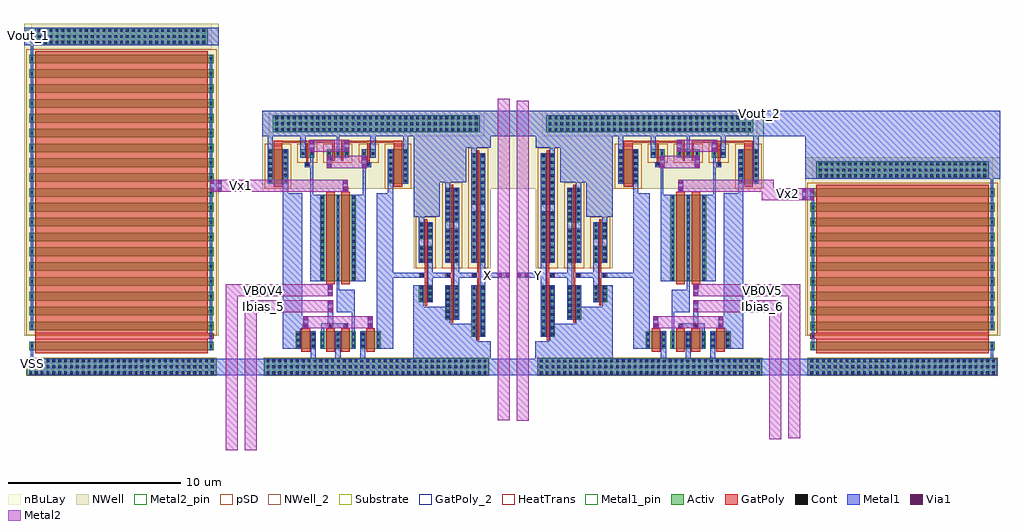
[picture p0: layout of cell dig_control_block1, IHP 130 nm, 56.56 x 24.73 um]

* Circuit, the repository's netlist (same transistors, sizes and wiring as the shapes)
** sch_path: /shared/designs/Layouts/Dig_control/dig_control_block1.sch
.subckt dig_control_block1 Vb0v4 VSS Vout_2 X Y Vb0v5 Vout_1 Ibias_5 Ibias_6
*.PININFO Vb0v4:I VSS:B Vout_2:B X:O Y:O Vb0v5:I Vout_1:B Ibias_5:I Ibias_6:I
M3 net1 net1 Vout_2 wellb1 sg13_lv_pmos w=0.5u l=0.13u ng=1 m=1
M6 net2 net1 Vout_2 wellb1 sg13_lv_pmos w=0.5u l=0.13u ng=1 m=1
M7 net1 net2 Vout_2 wellb1 sg13_lv_pmos w=0.5u l=0.13u ng=1 m=1
M4 net2 net2 Vout_2 wellb1 sg13_lv_pmos w=0.5u l=0.13u ng=1 m=1
M1 net1 Vb0v4 net5 VSS sg13_lv_nmos w=5u l=0.5u ng=1 m=1
M2 net2 Vx1 net5 VSS sg13_lv_nmos w=5u l=0.5u ng=1 m=1
M5 net5 Ibias_5 VSS VSS sg13_lv_nmos w=1u l=0.5u ng=1 m=1
M9 net4 net1 Vout_2 wellb1 sg13_lv_pmos w=2u l=0.5u ng=1 m=1
M8 net3 net2 Vout_2 wellb1 sg13_lv_pmos w=2u l=0.5u ng=1 m=1
M11 net3 net4 VSS VSS sg13_lv_nmos w=1u l=0.5u ng=1 m=1
M10 net4 net4 VSS VSS sg13_lv_nmos w=1u l=0.5u ng=1 m=1
M12 Ibias_5 Ibias_5 VSS VSS sg13_lv_nmos w=1u l=0.5u ng=1 m=1
M13 net6 net3 VSS VSS sg13_lv_nmos w=1u l=0.13u ng=1 m=1
M14 net6 net3 Vout_2 wellb1 sg13_lv_pmos w=1u l=0.13u ng=1 m=2
M15 net7 net6 VSS VSS sg13_lv_nmos w=2u l=0.13u ng=1 m=1
M16 net7 net6 Vout_2 wellb1 sg13_lv_pmos w=2u l=0.13u ng=1 m=2
M17 X net7 VSS VSS sg13_lv_nmos w=3u l=0.13u ng=1 m=1
M18 X net7 Vout_2 wellb1 sg13_lv_pmos w=3u l=0.13u ng=1 m=2
M19 net8 net8 Vout_2 wellb1 sg13_lv_pmos w=0.5u l=0.13u ng=1 m=1
M20 net9 net8 Vout_2 wellb1 sg13_lv_pmos w=0.5u l=0.13u ng=1 m=1
M21 net8 net9 Vout_2 wellb1 sg13_lv_pmos w=0.5u l=0.13u ng=1 m=1
M22 net9 net9 Vout_2 wellb1 sg13_lv_pmos w=0.5u l=0.13u ng=1 m=1
M23 net8 Vb0v5 net12 VSS sg13_lv_nmos w=5u l=0.5u ng=1 m=1
M24 net9 Vx2 net12 VSS sg13_lv_nmos w=5u l=0.5u ng=1 m=1
M25 net12 Ibias_6 VSS VSS sg13_lv_nmos w=1u l=0.5u ng=1 m=1
M26 net11 net8 Vout_2 wellb1 sg13_lv_pmos w=2u l=0.5u ng=1 m=1
M27 net10 net9 Vout_2 wellb1 sg13_lv_pmos w=2u l=0.5u ng=1 m=1
M28 net10 net11 VSS VSS sg13_lv_nmos w=1u l=0.5u ng=1 m=1
M29 net11 net11 VSS VSS sg13_lv_nmos w=1u l=0.5u ng=1 m=1
M30 Ibias_6 Ibias_6 VSS VSS sg13_lv_nmos w=1u l=0.5u ng=1 m=1
M31 net13 net10 VSS VSS sg13_lv_nmos w=1u l=0.13u ng=1 m=1
M32 net13 net10 Vout_2 wellb1 sg13_lv_pmos w=1u l=0.13u ng=1 m=2
M33 net14 net13 VSS VSS sg13_lv_nmos w=2u l=0.13u ng=1 m=1
M34 net14 net13 Vout_2 wellb1 sg13_lv_pmos w=2u l=0.13u ng=1 m=2
M35 Y net14 VSS VSS sg13_lv_nmos w=3u l=0.13u ng=1 m=1
M36 Y net14 Vout_2 wellb1 sg13_lv_pmos w=3u l=0.13u ng=1 m=2
M37 Vx1 Vx1 Vout_1 wellu sg13_lv_pmos w=0.5u l=10u ng=1 m=19
M38 Vx1 Vx1 VSS VSS sg13_lv_nmos w=0.5u l=10u ng=1 m=1
M39 Vx2 Vx2 Vout_2 welld sg13_lv_pmos w=0.5u l=10u ng=1 m=10
M40 Vx2 Vx2 VSS VSS sg13_lv_nmos w=0.5u l=10u ng=1 m=1
R1 Vout_2 wellb1 ntap1 R=25.79 w=12.0e-6 l=1.0e-6
R2 Vout_2 wellb1 ntap1 R=25.79 w=12.0e-6 l=1.0e-6
R3 Vout_1 wellu ntap1 R=30.62 w=10.0e-6 l=1.0e-6
R4 Vout_2 welld ntap1 R=30.62 w=10.0e-6 l=1.0e-6
.ends

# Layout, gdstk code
from math import pi, radians
import gdstk
lib = gdstk.Library(unit=1e-6, precision=5e-09)
def R(c, l, rs):  # rectangles x0, y0, x1, y1
    for r in rs: c.add(gdstk.rectangle(r[:2], r[2:], *l))
def A(c, l, x, y, w, h, nx, ny, dx, dy):  # array of equal rectangles
    R(c, l, [(x+i*dx, y+j*dy, x+i*dx+w, y+j*dy+h) for i in range(nx) for j in range(ny)])
def P(c, l, *ps):  # polygons
    for p in ps: c.add(gdstk.Polygon(p, *l))
Activ = (1, 0)
GatPoly = (5, 0)
GatPoly_2 = (5, 2)
Cont = (6, 0)
Metal1 = (8, 0)
Metal1_pin = (8, 2)
Metal2 = (10, 0)
Metal2_pin = (10, 2)
pSD = (14, 0)
Via1 = (19, 0)
NWell = (31, 0)
NWell_2 = (31, 2)
nBuLay = (32, 0)
Substrate = (40, 0)
HeatTrans = (51, 0)

pmos_1 = lib.new_cell('pmos$1')
R(pmos_1, Activ, [(0,0,0.3,0.3), (0,0,1.18,2), (0.88,0,1.18,0.3)])
R(pmos_1, GatPoly, [(0.34,-0.18,0.84,2.18), (0.34,-0.18,0.84,2.18)])
A(pmos_1, Cont, 0.07, 0.07, 0.16, 0.16, 1, 6, 0, 0.34)
A(pmos_1, Cont, 0.95, 0.07, 0.16, 0.16, 1, 6, 0, 0.34)
R(pmos_1, Metal1, [(0.07,0,0.23,2), (0.07,0,0.23,2), (0.95,0,1.11,2), (0.95,0,1.11,2)])
R(pmos_1, pSD, [(-0.18,-0.3,1.36,2.3)])
R(pmos_1, NWell, [(-0.31,-0.31,1.49,2.31)])
R(pmos_1, Substrate, [(0.88,0,1.18,0.3)])
R(pmos_1, HeatTrans, [(0.34,-0.18,0.84,2.18)])
pmos_1.add(gdstk.Label('pmos', (0.59,1), layer=63, texttype=0))
pmos_1.add(gdstk.Label('pmos', (0.59,1), layer=51, texttype=0))

via_stack = lib.new_cell('via_stack')
R(via_stack, Metal1, [(-0.145,-0.35,0.145,0.35)])
R(via_stack, Metal2, [(-0.145,-0.35,0.145,0.35)])
R(via_stack, Via1, [(-0.095,-0.3,0.095,-0.11), (-0.095,0.11,0.095,0.3)])

pmos_3 = lib.new_cell('pmos$3')
R(pmos_3, Activ, [(0,0,0.3,0.3), (0,0,0.81,2), (0.51,0,0.81,0.3)])
R(pmos_3, GatPoly, [(0.34,-0.18,0.47,2.18), (0.34,-0.18,0.47,2.18)])
A(pmos_3, Cont, 0.07, 0.07, 0.16, 0.16, 1, 6, 0, 0.34)
A(pmos_3, Cont, 0.58, 0.07, 0.16, 0.16, 1, 6, 0, 0.34)
R(pmos_3, Metal1, [(0.07,0,0.23,2), (0.07,0,0.23,2), (0.58,0,0.74,2), (0.58,0,0.74,2)])
R(pmos_3, pSD, [(-0.18,-0.3,0.99,2.3)])
R(pmos_3, NWell, [(-0.31,-0.31,1.12,2.31)])
R(pmos_3, Substrate, [(0.51,0,0.81,0.3)])
R(pmos_3, HeatTrans, [(0.34,-0.18,0.47,2.18)])
pmos_3.add(gdstk.Label('pmos', (0.405,1), layer=63, texttype=0))
pmos_3.add(gdstk.Label('pmos', (0.405,1), layer=51, texttype=0))

pmos_4 = lib.new_cell('pmos$4')
R(pmos_4, Activ, [(0,0,0.3,0.3), (0,0,0.81,3), (0.51,0,0.81,0.3)])
R(pmos_4, GatPoly, [(0.34,-0.18,0.47,3.18), (0.34,-0.18,0.47,3.18)])
A(pmos_4, Cont, 0.07, 0.07, 0.16, 0.16, 1, 7, 0, 0.385)
A(pmos_4, Cont, 0.58, 0.07, 0.16, 0.16, 1, 7, 0, 0.385)
R(pmos_4, Cont, [(0.07,2.77,0.23,2.93), (0.58,2.77,0.74,2.93)])
R(pmos_4, Metal1, [(0.07,0,0.23,3), (0.07,0,0.23,3), (0.58,0,0.74,3), (0.58,0,0.74,3)])
R(pmos_4, pSD, [(-0.18,-0.3,0.99,3.3)])
R(pmos_4, NWell, [(-0.31,-0.31,1.12,3.31)])
R(pmos_4, Substrate, [(0.51,0,0.81,0.3)])
R(pmos_4, HeatTrans, [(0.34,-0.18,0.47,3.18)])
pmos_4.add(gdstk.Label('pmos', (0.405,1.5), layer=63, texttype=0))
pmos_4.add(gdstk.Label('pmos', (0.405,1.5), layer=51, texttype=0))

pmos_5 = lib.new_cell('pmos$5')
R(pmos_5, Activ, [(0,0,0.3,0.3), (0,0,10.68,0.5), (10.38,0,10.68,0.3)])
R(pmos_5, GatPoly, [(0.34,-0.18,10.34,0.68), (0.34,-0.18,10.34,0.68)])
R(pmos_5, Cont, [(0.07,0.17,0.23,0.33), (10.45,0.17,10.61,0.33)])
R(pmos_5, Metal1, [(0.07,0,0.23,0.5), (0.07,0,0.23,0.5), (10.45,0,10.61,0.5), (10.45,0,10.61,0.5)])
R(pmos_5, pSD, [(-0.18,-0.3,10.86,0.8)])
R(pmos_5, NWell, [(-0.31,-0.31,10.99,0.81)])
R(pmos_5, Substrate, [(10.38,0,10.68,0.3)])
R(pmos_5, HeatTrans, [(0.34,-0.18,10.34,0.68)])
pmos_5.add(gdstk.Label('pmos', (5.34,0.25), layer=63, texttype=0))
pmos_5.add(gdstk.Label('pmos', (5.34,0.25), layer=51, texttype=0))

via_stack_3 = lib.new_cell('via_stack$3')
R(via_stack_3, Metal1, [(-0.35,-0.35,0.35,0.35)])
R(via_stack_3, Metal2, [(-0.35,-0.35,0.35,0.35)])
R(via_stack_3, Via1, [(-0.3,-0.3,-0.11,-0.11), (0.11,-0.3,0.3,-0.11), (-0.3,0.11,-0.11,0.3), (0.11,0.11,0.3,0.3)])

via_stack_4 = lib.new_cell('via_stack$4')
R(via_stack_4, Metal1, [(-0.35,-0.35,0.35,0.35)])
R(via_stack_4, Metal2, [(-0.35,-0.35,0.35,0.35)])
R(via_stack_4, Via1, [(-0.3,-0.3,-0.11,-0.11), (0.11,-0.3,0.3,-0.11), (-0.3,0.11,-0.11,0.3), (0.11,0.11,0.3,0.3)])

ntap1 = lib.new_cell('ntap1')
R(ntap1, Activ, [(0,0,12,1)])
A(ntap1, Cont, 0.14, 0.08, 0.16, 0.16, 35, 3, 0.34, 0.34)
R(ntap1, Metal1, [(0.14,0.03,11.86,0.97)])
R(ntap1, Metal1_pin, [(0.14,0.03,11.86,0.97), (0.14,0.08,11.86,0.92)])
R(ntap1, NWell, [(-0.24,-0.24,12.24,1.24), (0,0,12,1)])
R(ntap1, NWell_2, [(0,0,12,1)])
R(ntap1, nBuLay, [(-0.24,-0.24,12.24,1.24)])
ntap1.add(gdstk.Label('well', (6,0.01), layer=31, texttype=0))
ntap1.add(gdstk.Label('well', (6,0.01), layer=63, texttype=0))

pmos = lib.new_cell('pmos')
R(pmos, Activ, [(0,0,0.3,0.3), (0,0,0.81,0.5), (0.51,0,0.81,0.3)])
R(pmos, GatPoly, [(0.34,-0.18,0.47,0.68), (0.34,-0.18,0.47,0.68)])
R(pmos, Cont, [(0.07,0.17,0.23,0.33), (0.58,0.17,0.74,0.33)])
R(pmos, Metal1, [(0.07,0,0.23,0.5), (0.07,0,0.23,0.5), (0.58,0,0.74,0.5), (0.58,0,0.74,0.5)])
R(pmos, pSD, [(-0.18,-0.3,0.99,0.8)])
R(pmos, NWell, [(-0.31,-0.31,1.12,0.81)])
R(pmos, Substrate, [(0.51,0,0.81,0.3)])
R(pmos, HeatTrans, [(0.34,-0.18,0.47,0.68)])
pmos.add(gdstk.Label('pmos', (0.405,0.25), layer=63, texttype=0))
pmos.add(gdstk.Label('pmos', (0.405,0.25), layer=51, texttype=0))

ntap1_1 = lib.new_cell('ntap1$1')
R(ntap1_1, Activ, [(0,0,10,1)])
A(ntap1_1, Cont, 0.16, 0.08, 0.16, 0.16, 29, 3, 0.34, 0.34)
R(ntap1_1, Metal1, [(0.16,0.03,9.84,0.97)])
R(ntap1_1, Metal1_pin, [(0.16,0.03,9.84,0.97), (0.16,0.08,9.84,0.92)])
R(ntap1_1, NWell, [(-0.24,-0.24,10.24,1.24), (0,0,10,1)])
R(ntap1_1, NWell_2, [(0,0,10,1)])
R(ntap1_1, nBuLay, [(-0.24,-0.24,10.24,1.24)])
ntap1_1.add(gdstk.Label('well', (5,0.01), layer=31, texttype=0))
ntap1_1.add(gdstk.Label('well', (5,0.01), layer=63, texttype=0))

pmos_2 = lib.new_cell('pmos$2')
R(pmos_2, Activ, [(0,0,0.3,0.3), (0,0,0.81,1), (0.51,0,0.81,0.3)])
R(pmos_2, GatPoly, [(0.34,-0.18,0.47,1.18), (0.34,-0.18,0.47,1.18)])
A(pmos_2, Cont, 0.07, 0.07, 0.16, 0.16, 1, 3, 0, 0.35)
A(pmos_2, Cont, 0.58, 0.07, 0.16, 0.16, 1, 3, 0, 0.35)
R(pmos_2, Metal1, [(0.07,0,0.23,1), (0.07,0,0.23,1), (0.58,0,0.74,1), (0.58,0,0.74,1)])
R(pmos_2, pSD, [(-0.18,-0.3,0.99,1.3)])
R(pmos_2, NWell, [(-0.31,-0.31,1.12,1.31)])
R(pmos_2, Substrate, [(0.51,0,0.81,0.3)])
R(pmos_2, HeatTrans, [(0.34,-0.18,0.47,1.18)])
pmos_2.add(gdstk.Label('pmos', (0.405,0.5), layer=63, texttype=0))
pmos_2.add(gdstk.Label('pmos', (0.405,0.5), layer=51, texttype=0))

via_stack_2 = lib.new_cell('via_stack$2')
R(via_stack_2, Metal1, [(-0.35,-0.145,0.35,0.145)])
R(via_stack_2, Metal2, [(-0.35,-0.145,0.35,0.145)])
R(via_stack_2, Via1, [(-0.3,-0.095,-0.11,0.095), (0.11,-0.095,0.3,0.095)])

nmos = lib.new_cell('nmos')
R(nmos, Activ, [(0,0,0.3,0.3), (0,0,0.81,1), (0.51,0,0.81,0.3)])
R(nmos, GatPoly, [(0.34,-0.18,0.47,1.18)])
R(nmos, GatPoly_2, [(0.34,-0.18,0.47,1.18)])
A(nmos, Cont, 0.07, 0.07, 0.16, 0.16, 1, 3, 0, 0.35)
A(nmos, Cont, 0.58, 0.07, 0.16, 0.16, 1, 3, 0, 0.35)
R(nmos, Metal1, [(0.07,0,0.23,1), (0.58,0,0.74,1)])
R(nmos, Metal1_pin, [(0.07,0,0.23,1), (0.58,0,0.74,1)])
R(nmos, HeatTrans, [(0.34,-0.18,0.47,1.18)])
nmos.add(gdstk.Label('nmos', (0.405,0.5), layer=63, texttype=0))
nmos.add(gdstk.Label('nmos', (0.405,0.5), layer=51, texttype=0))

nmos_5 = lib.new_cell('nmos$5')
R(nmos_5, Activ, [(0,0,0.3,0.3), (0,0,10.68,0.5), (10.38,0,10.68,0.3)])
R(nmos_5, GatPoly, [(0.34,-0.18,10.34,0.68)])
R(nmos_5, GatPoly_2, [(0.34,-0.18,10.34,0.68)])
R(nmos_5, Cont, [(0.07,0.17,0.23,0.33), (10.45,0.17,10.61,0.33)])
R(nmos_5, Metal1, [(0.07,0,0.23,0.5), (10.45,0,10.61,0.5)])
R(nmos_5, Metal1_pin, [(0.07,0,0.23,0.5), (10.45,0,10.61,0.5)])
R(nmos_5, HeatTrans, [(0.34,-0.18,10.34,0.68)])
nmos_5.add(gdstk.Label('nmos', (5.34,0.25), layer=63, texttype=0))
nmos_5.add(gdstk.Label('nmos', (5.34,0.25), layer=51, texttype=0))

nmos_1 = lib.new_cell('nmos$1')
R(nmos_1, Activ, [(0,0,0.3,0.3), (0,0,0.81,2), (0.51,0,0.81,0.3)])
R(nmos_1, GatPoly, [(0.34,-0.18,0.47,2.18)])
R(nmos_1, GatPoly_2, [(0.34,-0.18,0.47,2.18)])
A(nmos_1, Cont, 0.07, 0.07, 0.16, 0.16, 1, 6, 0, 0.34)
A(nmos_1, Cont, 0.58, 0.07, 0.16, 0.16, 1, 6, 0, 0.34)
R(nmos_1, Metal1, [(0.07,0,0.23,2), (0.58,0,0.74,2)])
R(nmos_1, Metal1_pin, [(0.07,0,0.23,2), (0.58,0,0.74,2)])
R(nmos_1, HeatTrans, [(0.34,-0.18,0.47,2.18)])
nmos_1.add(gdstk.Label('nmos', (0.405,1), layer=63, texttype=0))
nmos_1.add(gdstk.Label('nmos', (0.405,1), layer=51, texttype=0))

nmos_2 = lib.new_cell('nmos$2')
R(nmos_2, Activ, [(0,0,0.3,0.3), (0,0,1.18,1), (0.88,0,1.18,0.3)])
R(nmos_2, GatPoly, [(0.34,-0.18,0.84,1.18)])
R(nmos_2, GatPoly_2, [(0.34,-0.18,0.84,1.18)])
A(nmos_2, Cont, 0.07, 0.07, 0.16, 0.16, 1, 3, 0, 0.35)
A(nmos_2, Cont, 0.95, 0.07, 0.16, 0.16, 1, 3, 0, 0.35)
R(nmos_2, Metal1, [(0.07,0,0.23,1), (0.95,0,1.11,1)])
R(nmos_2, Metal1_pin, [(0.07,0,0.23,1), (0.95,0,1.11,1)])
R(nmos_2, HeatTrans, [(0.34,-0.18,0.84,1.18)])
nmos_2.add(gdstk.Label('nmos', (0.59,0.5), layer=63, texttype=0))
nmos_2.add(gdstk.Label('nmos', (0.59,0.5), layer=51, texttype=0))

nmos_3 = lib.new_cell('nmos$3')
R(nmos_3, Activ, [(0,0,0.3,0.3), (0,0,0.81,3), (0.51,0,0.81,0.3)])
R(nmos_3, GatPoly, [(0.34,-0.18,0.47,3.18)])
R(nmos_3, GatPoly_2, [(0.34,-0.18,0.47,3.18)])
A(nmos_3, Cont, 0.07, 0.07, 0.16, 0.16, 1, 7, 0, 0.385)
A(nmos_3, Cont, 0.58, 0.07, 0.16, 0.16, 1, 7, 0, 0.385)
R(nmos_3, Cont, [(0.07,2.77,0.23,2.93), (0.58,2.77,0.74,2.93)])
R(nmos_3, Metal1, [(0.07,0,0.23,3), (0.58,0,0.74,3)])
R(nmos_3, Metal1_pin, [(0.07,0,0.23,3), (0.58,0,0.74,3)])
R(nmos_3, HeatTrans, [(0.34,-0.18,0.47,3.18)])
nmos_3.add(gdstk.Label('nmos', (0.405,1.5), layer=63, texttype=0))
nmos_3.add(gdstk.Label('nmos', (0.405,1.5), layer=51, texttype=0))

nmos_4 = lib.new_cell('nmos$4')
R(nmos_4, Activ, [(0,0,0.3,0.3), (0,0,1.18,5), (0.88,0,1.18,0.3)])
R(nmos_4, GatPoly, [(0.34,-0.18,0.84,5.18)])
R(nmos_4, GatPoly_2, [(0.34,-0.18,0.84,5.18)])
A(nmos_4, Cont, 0.07, 0.07, 0.16, 0.16, 1, 4, 0, 0.36)
A(nmos_4, Cont, 0.95, 0.07, 0.16, 0.16, 1, 4, 0, 0.36)
A(nmos_4, Cont, 0.07, 1.515, 0.16, 0.16, 1, 3, 0, 0.36)
A(nmos_4, Cont, 0.95, 1.515, 0.16, 0.16, 1, 3, 0, 0.36)
A(nmos_4, Cont, 0.07, 2.6, 0.16, 0.16, 1, 3, 0, 0.36)
A(nmos_4, Cont, 0.95, 2.6, 0.16, 0.16, 1, 3, 0, 0.36)
A(nmos_4, Cont, 0.07, 3.685, 0.16, 0.16, 1, 3, 0, 0.36)
A(nmos_4, Cont, 0.95, 3.685, 0.16, 0.16, 1, 3, 0, 0.36)
R(nmos_4, Cont, [(0.07,4.77,0.23,4.93), (0.95,4.77,1.11,4.93)])
R(nmos_4, Metal1, [(0.07,0,0.23,5), (0.95,0,1.11,5)])
R(nmos_4, Metal1_pin, [(0.07,0,0.23,5), (0.95,0,1.11,5)])
R(nmos_4, HeatTrans, [(0.34,-0.18,0.84,5.18)])
nmos_4.add(gdstk.Label('nmos', (0.59,2.5), layer=63, texttype=0))
nmos_4.add(gdstk.Label('nmos', (0.59,2.5), layer=51, texttype=0))

dig_control_block1 = lib.new_cell('dig_control_block1')
R(dig_control_block1, Activ, [(-17.03,-11.265,-6.05,-10.265), (-3.26,-11.265,9.74,-10.265), (12.57,-11.265,25.57,-10.265), (28.23,-11.265,39.21,-10.265)])
A(dig_control_block1, GatPoly, 5.705, -5.6, 0.46, 0.3, 3, 1, 1.52, 0)
A(dig_control_block1, GatPoly, 13.105, -5.6, 0.46, 0.3, 3, 1, 1.52, 0)
R(dig_control_block1, GatPoly, [(-16.54,-9.985,-6.54,7.515), (28.72,-9.985,38.72,-0.225), (9.075,-9.21,9.205,1.8), (13.105,-9.21,13.235,1.8), (-6.54,-9.125,-6.2,-8.825), (28.38,-9.125,28.72,-8.825), (-1.025,-8.53,-0.725,-8.23), (0.42,-8.53,0.72,-8.23), (1.3,-8.53,1.6,-8.23), (2.73,-8.53,3.03,-8.23), (19.28,-8.53,19.58,-8.23), (20.71,-8.53,21.01,-8.23), (21.59,-8.53,21.89,-8.23), (23.035,-8.53,23.335,-8.23), (7.555,-8.21,7.685,-0.2), (14.625,-8.21,14.755,-0.2), (6.035,-7.21,6.165,-2.2), (16.145,-7.21,16.275,-2.2), (0.41,-6.285,0.71,-5.985), (21.6,-6.285,21.9,-5.985), (1.29,-0.625,1.59,-0.325), (20.72,-0.625,21.02,-0.325), (-0.92,0.805,-0.62,1.105), (2.63,0.805,2.93,1.105), (19.38,0.805,19.68,1.105), (22.93,0.805,23.23,1.105)])
P(dig_control_block1, GatPoly, [(-0.835,0.805),(-0.835,2.345),(0.815,2.345),(0.815,1.175),(0.685,1.175),(0.685,2.215),(-0.705,2.215),(-0.705,0.805)],
  [(2.715,0.805),(2.715,2.215),(1.325,2.215),(1.325,1.175),(1.195,1.175),(1.195,2.345),(2.845,2.345),(2.845,0.805)],
  [(-2.725,-0.325),(-2.725,2.345),(0.815,2.345),(0.815,2.215),(-2.225,2.215),(-2.225,-0.325)],
  [(4.235,-0.325),(4.235,2.215),(1.195,2.215),(1.195,2.345),(4.735,2.345),(4.735,-0.325)],
  [(23.015,0.805),(23.015,2.215),(21.625,2.215),(21.625,1.175),(21.495,1.175),(21.495,2.345),(23.145,2.345),(23.145,0.805)],
  [(19.465,0.805),(19.465,2.345),(21.115,2.345),(21.115,1.175),(20.985,1.175),(20.985,2.215),(19.595,2.215),(19.595,0.805)],
  [(24.535,-0.325),(24.535,2.215),(21.495,2.215),(21.495,2.345),(25.035,2.345),(25.035,-0.325)],
  [(17.575,-0.325),(17.575,2.345),(21.115,2.345),(21.115,2.215),(18.075,2.215),(18.075,-0.325)])
A(dig_control_block1, Cont, -16.9, -11.185, 0.16, 0.16, 32, 3, 0.34, 0.34)
A(dig_control_block1, Cont, -3.13, -11.185, 0.16, 0.16, 38, 3, 0.34, 0.34)
A(dig_control_block1, Cont, 12.7, -11.185, 0.16, 0.16, 38, 3, 0.34, 0.34)
A(dig_control_block1, Cont, 28.38, -11.185, 0.16, 0.16, 32, 3, 0.34, 0.34)
A(dig_control_block1, Cont, 5.775, -5.53, 0.16, 0.16, 3, 1, 1.52, 0)
A(dig_control_block1, Cont, 13.335, -5.53, 0.16, 0.16, 3, 1, 1.52, 0)
R(dig_control_block1, Cont, [(-6.43,-9.055,-6.27,-8.895), (28.45,-9.055,28.61,-8.895), (-0.955,-8.46,-0.795,-8.3), (0.49,-8.46,0.65,-8.3), (1.37,-8.46,1.53,-8.3), (2.8,-8.46,2.96,-8.3), (19.35,-8.46,19.51,-8.3), (20.78,-8.46,20.94,-8.3), (21.66,-8.46,21.82,-8.3), (23.105,-8.46,23.265,-8.3), (0.48,-6.215,0.64,-6.055), (21.67,-6.215,21.83,-6.055), (1.36,-0.555,1.52,-0.395), (20.79,-0.555,20.95,-0.395), (-0.85,0.875,-0.69,1.035), (2.7,0.875,2.86,1.035), (19.45,0.875,19.61,1.035), (23,0.875,23.16,1.035)])
A(dig_control_block1, Metal1, -0.57, -10.505, 0.3, 1.795, 3, 1, 1.43, 0)
A(dig_control_block1, Metal1, 19.72, -10.505, 0.3, 1.795, 3, 1, 1.43, 0)
R(dig_control_block1, Metal1, [(-16.9,-11.265,39.21,-10.295), (-16.9,-11.235,-6.2,-10.295), (-16.81,-11.235,-16.65,-9.305), (-3.26,-11.235,9.61,-10.295), (12.7,-11.235,25.68,-10.295), (38.83,-11.235,38.99,-9.305), (7.215,-10.505,7.515,-6.03), (8.735,-10.505,9.035,-6.03), (13.275,-10.505,13.575,-6.03), (14.795,-10.505,15.095,-6.03), (-6.43,-9.805,-6.27,7.335), (28.45,-9.805,28.61,-0.405), (-16.81,-8.645,-16.65,8.885), (38.83,-8.645,38.99,1.145), (0.42,-8.53,0.72,-6.905), (21.59,-8.53,21.89,-6.905), (3.24,-5.6,6.005,-5.3), (16.305,-5.6,19.07,-5.3), (5.695,-4.74,5.995,2.8), (7.215,-4.74,7.515,2.845), (8.735,-4.74,9.035,2.855), (13.275,-4.74,13.575,2.855), (14.795,-4.74,15.095,2.845), (16.315,-4.74,16.615,2.8), (27.91,-1.105,28.61,-0.405), (27.91,-1.105,28.61,-0.405), (-6.43,-0.625,-5.73,0.075), (-3.065,-0.145,-2.765,2.825), (4.775,-0.145,5.075,2.825), (17.235,-0.145,17.535,2.825), (25.075,-0.145,25.375,2.825), (28.07,0.145,39.37,1.145), (0.415,0.755,0.575,1.855), (21.735,0.755,21.895,1.855), (-1.175,1.355,-0.875,2.825), (0.925,1.355,1.085,2.825), (1.435,1.355,1.595,2.39), (2.885,1.355,3.185,2.825), (19.125,1.355,19.425,2.825), (20.715,1.355,20.875,2.39), (21.225,1.355,21.385,2.825), (23.185,1.355,23.485,2.825), (-3.375,2.585,9.855,4.065), (-3.375,2.585,25.685,4.065), (12.455,2.585,25.685,4.065), (-17.19,7.885,-5.89,8.885)])
P(dig_control_block1, Metal1, [(9.245,-9.03),(9.245,1.62),(9.545,1.62),(9.545,-5.305),(10.955,-5.305),(10.955,-5.595),(9.545,-5.595),(9.545,-9.03)],
  [(12.765,-9.03),(12.765,-5.595),(11.355,-5.595),(11.355,-5.305),(12.765,-5.305),(12.765,1.62),(13.065,1.62),(13.065,-9.03)],
  [(28.07,0.145),(28.07,2.585),(25.515,2.585),(25.515,4.065),(39.37,4.065),(39.37,0.145)],
  [(5.38,-11.235),(5.38,-6.03),(5.985,-6.03),(5.985,-7.28),(7.515,-7.28),(7.515,-8.28),(9.035,-8.28),(9.035,-9.28),(9.86,-9.28),(9.86,-11.235)],
  [(5.385,-2.07),(5.385,4.065),(9.855,4.065),(9.855,1.93),(8.425,1.93),(8.425,-0.07),(6.905,-0.07),(6.905,-2.07)],
  [(6.205,-7.03),(6.205,-2.38),(6.505,-2.38),(6.505,-5.3),(7.525,-5.3),(7.525,-5.6),(6.505,-5.6),(6.505,-7.03)],
  [(7.725,-8.03),(7.725,-0.38),(8.025,-0.38),(8.025,-5.3),(9.045,-5.3),(9.045,-5.6),(8.025,-5.6),(8.025,-8.03)],
  [(-0.595,-5.805),(-0.595,0.805),(-0.92,0.805),(-0.92,1.105),(-0.595,1.105),(-0.595,2.385),(-0.435,2.385),(-0.435,-0.805),(0.205,-0.805),(0.205,-5.805)],
  [(1.81,-9.71),(1.81,-7.6),(0.925,-7.6),(0.925,-0.805),(1.085,-0.805),(1.085,-6.295),(1.97,-6.295),(1.97,-9.71)],
  [(3.24,-9.71),(3.24,-0.71),(3.895,-0.71),(3.895,1.855),(4.195,1.855),(4.195,-9.71)],
  [(1.805,-5.805),(1.805,-0.805),(2.445,-0.805),(2.445,1.855),(2.605,1.855),(2.605,1.105),(2.93,1.105),(2.93,0.805),(2.605,0.805),(2.605,-5.805)],
  [(-2.185,-9.71),(-2.185,1.855),(-1.885,1.855),(-1.885,-0.705),(-1.065,-0.705),(-1.065,-7.83),(-0.735,-7.83),(-0.735,-8.53),(-1.155,-8.53),(-1.155,-9.71)],
  [(0.05,-9.71),(0.05,-8.23),(1.6,-8.23),(1.6,-8.53),(0.21,-8.53),(0.21,-9.71)],
  [(12.45,-11.235),(12.45,-9.28),(13.275,-9.28),(13.275,-8.28),(14.795,-8.28),(14.795,-7.28),(16.325,-7.28),(16.325,-6.03),(16.93,-6.03),(16.93,-11.235)],
  [(15.405,-2.07),(15.405,-0.07),(13.885,-0.07),(13.885,1.93),(12.455,1.93),(12.455,4.065),(16.925,4.065),(16.925,-2.07)],
  [(15.805,-7.03),(15.805,-5.6),(14.785,-5.6),(14.785,-5.3),(15.805,-5.3),(15.805,-2.38),(16.105,-2.38),(16.105,-7.03)],
  [(14.285,-8.03),(14.285,-5.6),(13.265,-5.6),(13.265,-5.3),(14.285,-5.3),(14.285,-0.38),(14.585,-0.38),(14.585,-8.03)],
  [(22.105,-5.805),(22.105,-0.805),(22.745,-0.805),(22.745,2.385),(22.905,2.385),(22.905,1.105),(23.23,1.105),(23.23,0.805),(22.905,0.805),(22.905,-5.805)],
  [(20.34,-9.71),(20.34,-6.295),(21.225,-6.295),(21.225,-0.805),(21.385,-0.805),(21.385,-7.6),(20.5,-7.6),(20.5,-9.71)],
  [(18.115,-9.71),(18.115,1.855),(18.415,1.855),(18.415,-0.71),(19.07,-0.71),(19.07,-9.71)],
  [(19.705,-5.805),(19.705,0.805),(19.38,0.805),(19.38,1.105),(19.705,1.105),(19.705,1.855),(19.865,1.855),(19.865,-0.805),(20.505,-0.805),(20.505,-5.805)],
  [(23.465,-9.71),(23.465,-8.53),(23.045,-8.53),(23.045,-7.83),(23.375,-7.83),(23.375,-0.705),(24.195,-0.705),(24.195,1.855),(24.495,1.855),(24.495,-9.71)],
  [(22.1,-9.71),(22.1,-8.53),(20.71,-8.53),(20.71,-8.23),(22.26,-8.23),(22.26,-9.71)])
R(dig_control_block1, Metal1_pin, [(-16.9,-10.745,-16.44,-10.295), (9.595,-5.595,9.86,-5.305), (12.45,-5.595,12.715,-5.305), (24.775,2.585,25.685,4.065), (-17.1,8.105,-16.615,8.78)])
R(dig_control_block1, Metal2, [(-4.39,-15.605,-3.69,-6.905), (-5.49,-15.59,-4.79,-5.985), (26,-14.95,26.7,-6.905), (27.1,-14.91,27.8,-5.985), (11.355,-13.885,12.055,4.665), (10.255,-13.85,10.955,4.78), (-1.02,-8.53,3.025,-7.83), (19.285,-8.53,23.33,-7.83), (-4.39,-7.605,0.72,-6.905), (21.59,-7.605,26.7,-6.905), (-5.49,-6.685,0.705,-5.985), (21.605,-6.685,27.8,-5.985), (25.555,-1.105,28.61,-0.405), (25.555,-1.105,26.255,0.075), (-6.43,-0.625,1.585,0.075), (20.725,-0.625,26.255,0.075), (0.35,0.755,2.67,1.455), (19.64,0.755,21.96,1.455), (-0.66,1.69,1.66,2.39), (20.65,1.69,22.97,2.39)])
R(dig_control_block1, Metal2_pin, [(-3.37,-7.605,-3.045,-6.905), (25.355,-7.605,25.68,-6.905), (-3.37,-6.685,-3.045,-5.985), (25.355,-6.685,25.68,-5.985)])
R(dig_control_block1, pSD, [(-17.06,-11.295,-6.02,-10.235), (-3.29,-11.295,9.77,-10.235), (12.54,-11.295,25.6,-10.235), (28.2,-11.295,39.24,-10.235)])
R(dig_control_block1, NWell, [(-17.19,-8.955,-5.89,9.125), (28.07,-8.955,39.37,1.385), (5.385,-5.05,9.855,4.065), (12.455,-5.05,16.925,4.065), (-3.375,-0.455,5.385,4.065), (-3.375,-0.455,25.685,4.065), (16.925,-0.455,25.685,4.065)])
dig_control_block1.add(gdstk.Reference(pmos_1, (-3.065,-0.145)))
dig_control_block1.add(gdstk.Reference(pmos_1, (3.895,-0.145)))
dig_control_block1.add(gdstk.Reference(via_stack, (1.44,-0.275)))
dig_control_block1.add(gdstk.Reference(pmos_3, (7.215,-2.38)))
dig_control_block1.add(gdstk.Reference(pmos_4, (8.735,-1.38)))
dig_control_block1.add(gdstk.Reference(pmos_1, (25.375,-0.145), rotation=pi, x_reflection=True))
dig_control_block1.add(gdstk.Reference(pmos_1, (18.415,-0.145), rotation=pi, x_reflection=True))
dig_control_block1.add(gdstk.Reference(via_stack, (20.87,-0.275), rotation=pi, x_reflection=True))
dig_control_block1.add(gdstk.Reference(pmos_3, (15.095,-2.38), rotation=pi, x_reflection=True))
dig_control_block1.add(gdstk.Reference(pmos_4, (13.575,-1.38), rotation=pi, x_reflection=True))
dig_control_block1.add(gdstk.Reference(pmos_5, (39.06,-0.905), rotation=pi, x_reflection=True))
dig_control_block1.add(gdstk.Reference(pmos_5, (-16.88,-0.905)))
dig_control_block1.add(gdstk.Reference(via_stack_3, (-6.08,-0.275)))
dig_control_block1.add(gdstk.Reference(via_stack_4, (28.26,-0.755)))
dig_control_block1.add(gdstk.Reference(via_stack, (19.785,1.105), rotation=pi, x_reflection=True))
dig_control_block1.add(gdstk.Reference(ntap1, (25.075,2.825), rotation=pi, x_reflection=True))
dig_control_block1.add(gdstk.Reference(pmos, (21.455,1.355), rotation=pi, x_reflection=True))
dig_control_block1.add(gdstk.Reference(pmos, (19.935,1.355), rotation=pi, x_reflection=True))
dig_control_block1.add(gdstk.Reference(pmos, (23.485,1.355), rotation=pi, x_reflection=True))
dig_control_block1.add(gdstk.Reference(pmos, (21.965,1.355), rotation=pi, x_reflection=True))
dig_control_block1.add(gdstk.Reference(ntap1_1, (38.72,0.145), rotation=pi, x_reflection=True))
dig_control_block1.add(gdstk.Reference(via_stack, (22.82,2.035), rotation=pi, x_reflection=True))
dig_control_block1.add(gdstk.Reference(via_stack, (20.795,2.04), rotation=pi, x_reflection=True))
dig_control_block1.add(gdstk.Reference(via_stack, (21.815,1.105), rotation=pi, x_reflection=True))
dig_control_block1.add(gdstk.Reference(via_stack, (-0.51,2.035)))
dig_control_block1.add(gdstk.Reference(via_stack, (1.515,2.04)))
dig_control_block1.add(gdstk.Reference(via_stack, (0.495,1.105)))
dig_control_block1.add(gdstk.Reference(via_stack, (2.525,1.105)))
dig_control_block1.add(gdstk.Reference(ntap1, (-2.765,2.825)))
dig_control_block1.add(gdstk.Reference(pmos, (0.855,1.355)))
dig_control_block1.add(gdstk.Reference(ntap1_1, (-16.54,7.885)))
dig_control_block1.add(gdstk.Reference(pmos, (2.375,1.355)))
dig_control_block1.add(gdstk.Reference(pmos_5, (-16.88,-0.045)))
dig_control_block1.add(gdstk.Reference(pmos_5, (-16.88,0.815)))
dig_control_block1.add(gdstk.Reference(pmos_5, (-16.88,1.675)))
dig_control_block1.add(gdstk.Reference(pmos_5, (-16.88,2.535)))
dig_control_block1.add(gdstk.Reference(pmos_5, (-16.88,3.395)))
dig_control_block1.add(gdstk.Reference(pmos_5, (-16.88,4.255)))
dig_control_block1.add(gdstk.Reference(pmos_5, (-16.88,5.115)))
dig_control_block1.add(gdstk.Reference(pmos_5, (-16.88,5.975)))
dig_control_block1.add(gdstk.Reference(pmos_5, (-16.88,6.835)))
dig_control_block1.add(gdstk.Reference(pmos, (-1.175,1.355)))
dig_control_block1.add(gdstk.Reference(pmos, (0.345,1.355)))
dig_control_block1.add(gdstk.Reference(pmos_2, (5.695,-3.38)))
dig_control_block1.add(gdstk.Reference(pmos_3, (7.215,-4.74)))
dig_control_block1.add(gdstk.Reference(via_stack, (0.56,-6.335)))
dig_control_block1.add(gdstk.Reference(pmos_4, (8.735,-4.74)))
dig_control_block1.add(gdstk.Reference(via_stack_2, (10.605,-5.45)))
dig_control_block1.add(gdstk.Reference(nmos, (5.695,-7.03)))
dig_control_block1.add(gdstk.Reference(nmos_5, (-16.88,-9.805)))
dig_control_block1.add(gdstk.Reference(pmos_5, (-16.88,-6.925)))
dig_control_block1.add(gdstk.Reference(pmos_5, (-16.88,-8.645)))
dig_control_block1.add(gdstk.Reference(pmos_5, (-16.88,-7.785)))
dig_control_block1.add(gdstk.Reference(pmos_5, (-16.88,-8.645)))
dig_control_block1.add(gdstk.Reference(pmos_5, (-16.88,-7.785)))
dig_control_block1.add(gdstk.Reference(pmos_5, (-16.88,-4.345)))
dig_control_block1.add(gdstk.Reference(pmos_5, (-16.88,-6.065)))
dig_control_block1.add(gdstk.Reference(pmos_5, (-16.88,-5.205)))
dig_control_block1.add(gdstk.Reference(pmos_5, (-16.88,-6.065)))
dig_control_block1.add(gdstk.Reference(pmos_5, (-16.88,-5.205)))
dig_control_block1.add(gdstk.Reference(pmos_5, (-16.88,-3.485)))
dig_control_block1.add(gdstk.Reference(pmos_5, (-16.88,-2.625)))
dig_control_block1.add(gdstk.Reference(pmos_5, (-16.88,-1.765)))
dig_control_block1.add(gdstk.Reference(nmos_1, (7.215,-8.03)))
dig_control_block1.add(gdstk.Reference(via_stack, (2.88,-8.18)))
dig_control_block1.add(gdstk.Reference(via_stack, (-0.875,-8.18)))
dig_control_block1.add(gdstk.Reference(nmos_2, (0.86,-9.71)))
dig_control_block1.add(gdstk.Reference(nmos_2, (2.29,-9.71)))
dig_control_block1.add(gdstk.Reference(nmos_3, (8.735,-9.03)))
dig_control_block1.add(gdstk.Reference(nmos_2, (-0.02,-9.71)))
dig_control_block1.add(gdstk.Reference(nmos_2, (-1.45,-9.71)))
dig_control_block1.add(gdstk.Reference(nmos_4, (0.855,-5.805)))
dig_control_block1.add(gdstk.Reference(nmos_4, (-0.025,-5.805)))
dig_control_block1.add(gdstk.Reference(via_stack, (0.57,-7.255)))
dig_control_block1.add(gdstk.Reference(pmos_2, (5.695,-4.74)))
dig_control_block1.add(gdstk.Reference(pmos_5, (39.06,-6.925), rotation=pi, x_reflection=True))
dig_control_block1.add(gdstk.Reference(nmos_5, (39.06,-9.805), rotation=pi, x_reflection=True))
dig_control_block1.add(gdstk.Reference(via_stack, (19.43,-8.18), rotation=pi, x_reflection=True))
dig_control_block1.add(gdstk.Reference(via_stack, (23.185,-8.18), rotation=pi, x_reflection=True))
dig_control_block1.add(gdstk.Reference(via_stack_2, (11.705,-5.45)))
dig_control_block1.add(gdstk.Reference(nmos_2, (21.45,-9.71), rotation=pi, x_reflection=True))
dig_control_block1.add(gdstk.Reference(nmos_2, (20.02,-9.71), rotation=pi, x_reflection=True))
dig_control_block1.add(gdstk.Reference(nmos_3, (13.575,-9.03), rotation=pi, x_reflection=True))
dig_control_block1.add(gdstk.Reference(nmos_2, (22.33,-9.71), rotation=pi, x_reflection=True))
dig_control_block1.add(gdstk.Reference(nmos_2, (23.76,-9.71), rotation=pi, x_reflection=True))
dig_control_block1.add(gdstk.Reference(nmos_4, (21.455,-5.805), rotation=pi, x_reflection=True))
dig_control_block1.add(gdstk.Reference(nmos_4, (22.335,-5.805), rotation=pi, x_reflection=True))
dig_control_block1.add(gdstk.Reference(via_stack, (21.74,-7.255), rotation=pi, x_reflection=True))
dig_control_block1.add(gdstk.Reference(pmos_2, (16.615,-4.74), rotation=pi, x_reflection=True))
dig_control_block1.add(gdstk.Reference(pmos_2, (16.615,-3.38), rotation=pi, x_reflection=True))
dig_control_block1.add(gdstk.Reference(pmos_3, (15.095,-4.74), rotation=pi, x_reflection=True))
dig_control_block1.add(gdstk.Reference(via_stack, (21.75,-6.335), rotation=pi, x_reflection=True))
dig_control_block1.add(gdstk.Reference(pmos_4, (13.575,-4.74), rotation=pi, x_reflection=True))
dig_control_block1.add(gdstk.Reference(nmos, (16.615,-7.03), rotation=pi, x_reflection=True))
dig_control_block1.add(gdstk.Reference(nmos_1, (15.095,-8.03), rotation=pi, x_reflection=True))
dig_control_block1.add(gdstk.Reference(pmos_5, (39.06,-1.765), rotation=pi, x_reflection=True))
dig_control_block1.add(gdstk.Reference(pmos_5, (39.06,-2.625), rotation=pi, x_reflection=True))
dig_control_block1.add(gdstk.Reference(pmos_5, (39.06,-3.485), rotation=pi, x_reflection=True))
dig_control_block1.add(gdstk.Reference(pmos_5, (39.06,-5.205), rotation=pi, x_reflection=True))
dig_control_block1.add(gdstk.Reference(pmos_5, (39.06,-6.065), rotation=pi, x_reflection=True))
dig_control_block1.add(gdstk.Reference(pmos_5, (39.06,-5.205), rotation=pi, x_reflection=True))
dig_control_block1.add(gdstk.Reference(pmos_5, (39.06,-6.065), rotation=pi, x_reflection=True))
dig_control_block1.add(gdstk.Reference(pmos_5, (39.06,-4.345), rotation=pi, x_reflection=True))
dig_control_block1.add(gdstk.Reference(pmos_5, (39.06,-7.785), rotation=pi, x_reflection=True))
dig_control_block1.add(gdstk.Reference(pmos_5, (39.06,-8.645), rotation=pi, x_reflection=True))
dig_control_block1.add(gdstk.Reference(pmos_5, (39.06,-7.785), rotation=pi, x_reflection=True))
dig_control_block1.add(gdstk.Reference(pmos_5, (39.06,-8.645), rotation=pi, x_reflection=True))
dig_control_block1.add(gdstk.Label('X', (9.68,-5.455), layer=8, texttype=25))
dig_control_block1.add(gdstk.Label('Y', (12.63,-5.455), layer=8, texttype=25))
dig_control_block1.add(gdstk.Label('Vout_2', (25.455,3.905), layer=8, texttype=25))
dig_control_block1.add(gdstk.Label('Vout_1', (-16.945,8.46), layer=8, texttype=25))
dig_control_block1.add(gdstk.Label('VSS', (-16.715,-10.575), layer=8, texttype=25))
dig_control_block1.add(gdstk.Label('VB0V4', (-3.29,-6.34), layer=10, texttype=25))
dig_control_block1.add(gdstk.Label('Vx1', (-4.59,-0.265), layer=10, texttype=25))
dig_control_block1.add(gdstk.Label('Ibias_5', (-3.29,-7.26), layer=10, texttype=25))
dig_control_block1.add(gdstk.Label('VB0V5', (25.6,-6.34), layer=10, texttype=25))
dig_control_block1.add(gdstk.Label('Vx2', (27.095,-0.74), layer=10, texttype=25))
dig_control_block1.add(gdstk.Label('Ibias_6', (25.6,-7.26), layer=10, texttype=25))

lib.write_gds('dig_control_block1.gds')
